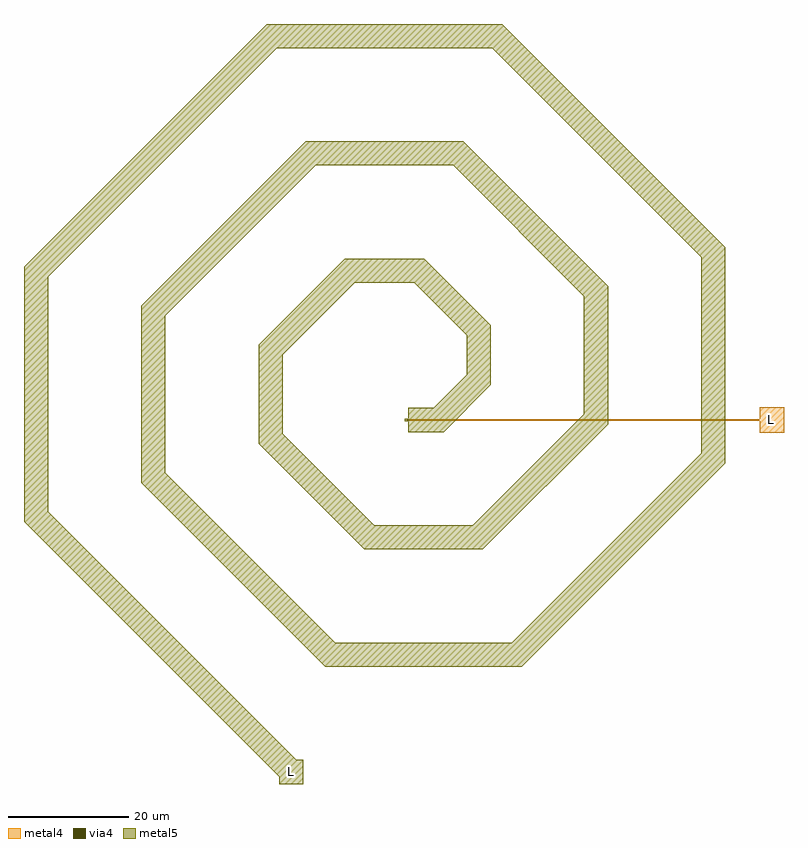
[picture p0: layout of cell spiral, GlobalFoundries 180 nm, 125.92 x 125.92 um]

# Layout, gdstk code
import gdstk
lib = gdstk.Library(unit=1e-6, precision=1e-09)
def R(c, l, rs):  # rectangles x0, y0, x1, y1
    for r in rs: c.add(gdstk.rectangle(r[:2], r[2:], *l))
def P(c, l, *ps):  # polygons
    for p in ps: c.add(gdstk.Polygon(p, *l))
via4 = (41, 0)
metal4 = (46, 0)
metal5 = (81, 0)

spiral = lib.new_cell('spiral')
R(spiral, via4, [(-0.13,-0.13,0.13,0.13)])
R(spiral, metal4, [(58.22,-2.14,62.22,2.14), (-0.26,-0.14,0.26,0.14), (-0.26,-0.14,60.22,0.14)])
R(spiral, metal5, [(-21.44,-60.32,-17.44,-56.32), (-0.64,-0.22,0.64,0.22)])
P(spiral, metal5, [(-20.855,-59.735),(-63.7,-16.89),(-63.7,25.41),(-23.51,65.6),(15.55,65.6),(52.5,28.65),(52.5,-7.17),(18.79,-40.88),(-13.79,-40.88),(-44.26,-10.41),(-44.26,18.93),(-17.03,46.16),(9.07,46.16),(33.06,22.17),(33.06,-0.69),(12.31,-21.44),(-7.31,-21.44),(-24.82,-3.93),(-24.82,12.45),(-10.55,26.72),(2.59,26.72),(13.62,15.69),(13.62,5.79),(5.83,-2),(0,-2),(0,2),(4.17,2),(9.62,7.45),(9.62,14.03),(0.93,22.72),(-8.89,22.72),(-20.82,10.79),(-20.82,-2.27),(-5.65,-17.44),(10.65,-17.44),(29.06,0.97),(29.06,20.51),(7.41,42.16),(-15.37,42.16),(-40.26,17.27),(-40.26,-8.75),(-12.13,-36.88),(17.13,-36.88),(48.5,-5.51),(48.5,26.99),(13.89,61.6),(-21.85,61.6),(-59.7,23.75),(-59.7,-15.23),(-18.025,-56.905)])
spiral.add(gdstk.Label('L', (-19.44,-58.32), layer=81, texttype=10))
spiral.add(gdstk.Label('L', (60.22,0), layer=46, texttype=10))

lib.write_gds('spiral.gds')
